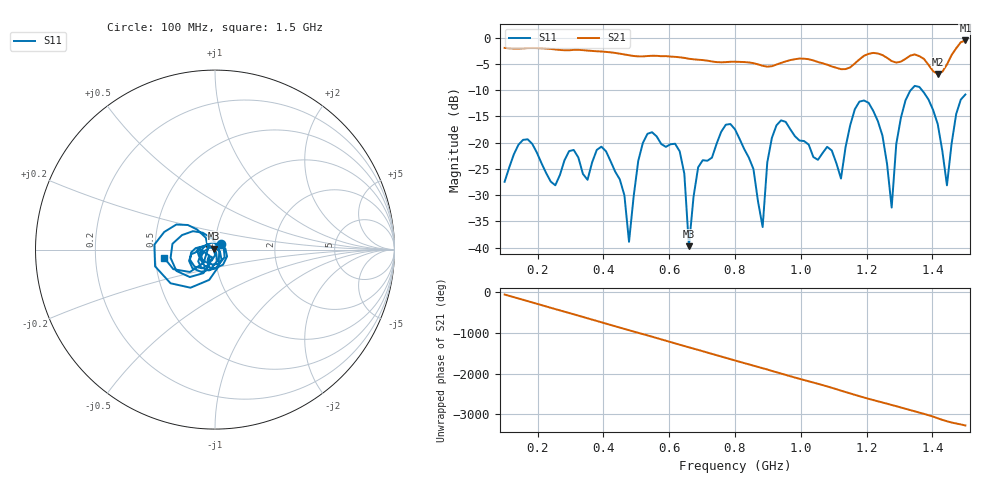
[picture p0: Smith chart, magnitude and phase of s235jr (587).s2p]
! NanoVNA-App
! Date: 2025-09-25 15:08:44
! Start: 100MHz Stop: 1,5GHz Points: 101
! S-Parameter data: F S11 S21 S12 S22
# Hz S RI R 50
!  Frequency  S11_Real  S11_Imag  S21_Real  S21_Imag  S12_Real  S12_Imag  S22_Real  S22_Imag
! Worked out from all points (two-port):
!   101 points, 100 MHz to 1.5 GHz, reference 50 ohm
!   highest |S21| = -0.55 dB at 1.5 GHz (marker M1); lowest = -6.9 dB at 1.416 GHz (marker M2)
!   |S21| within 3 dB of the highest: start of sweep to 500 MHz; 527.7 MHz to 592.7 MHz (65 MHz wide, 11.6 % of centre) (the widest 2 of 5)
!   lowest |S11| = -39.7 dB at 660 MHz (marker M3), VSWR 1.02, Z = 49.2 + j0.602 ohm
!   |S11| at or under -10 dB: start of sweep to 1.334 GHz; 1.368 GHz to end of sweep
!   S12 and S22 are empty: the file has one direction only
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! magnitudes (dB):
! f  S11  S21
! 100 MHz  -27.5  -2.0
! 170 MHz  -19.4  -2.0
! 338 MHz  -26.0  -2.4
! 408 MHz  -21.7  -2.7
! 478 MHz  -38.9  -3.4
! 520 MHz  -20.1  -3.6
! 576 MHz  -20.3  -3.5
! 632 MHz  -21.7  -3.8
! 660 MHz  -39.7  -4.0
! 688 MHz  -24.7  -4.2
! 800 MHz  -17.5  -4.6
! 884 MHz  -36.1  -5.4
! 926 MHz  -16.7  -5.1
! 1.038 GHz  -22.7  -4.3
! 1.122 GHz  -26.9  -6.0
! 1.206 GHz  -12.4  -3.1
! 1.276 GHz  -32.4  -4.5
! 1.29 GHz  -20.3  -4.8
! 1.332 GHz  -10.2  -3.4
! 1.416 GHz  -16.5  -6.9
! 1.444 GHz  -28.1  -5.1
! 1.5 GHz  -10.8  -0.5
